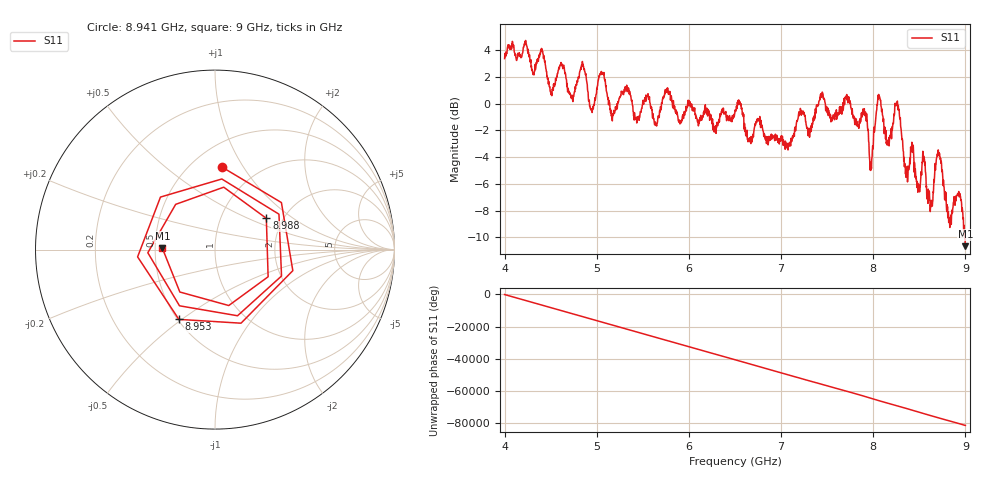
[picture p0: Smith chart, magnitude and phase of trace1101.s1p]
! Created with skrf 1.8.0 (http://scikit-rf.org).
# Hz S RI R 50.0
!freq ReS11 ImS11
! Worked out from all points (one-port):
!   1601 points, 4 GHz to 9 GHz, reference 50 ohm
!   lowest |S11| = -10.7 dB at 9 GHz (marker M1), VSWR 1.83, Z = 27.3 + j0.449 ohm
!   |S11| at or under -10 dB: 8.994986 GHz to end of sweep
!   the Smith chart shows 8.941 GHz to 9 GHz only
!   S11 on the Smith chart (normalised r, x): 8.941 GHz: 0.70, +0.81; 8.953 GHz: 0.51, -0.49; 8.988 GHz: 1.64, +0.65; 9 GHz: 0.55, +0.01
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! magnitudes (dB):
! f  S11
! 4 GHz  3.4
! 4.406 GHz  4.1
! 4.509 GHz  0.8
! 4.625 GHz  2.8
! 4.728 GHz  0.5
! 4.856 GHz  2.8
! 4.947 GHz  -0.4
! 5.053 GHz  2.2
! 5.169 GHz  -1.3
! 5.25 GHz  0.5
! 5.875 GHz  -0.8
! 6.5 GHz  -0.6
! 7.125 GHz  -2.4
! 7.75 GHz  0.0
! 7.909 GHz  -0.8
! 7.975 GHz  -4.5
! 8.056 GHz  0.3
! 8.159 GHz  -3.0
! 8.259 GHz  0.1
! 8.375 GHz  -5.4
! 8.547 GHz  -3.9
! 8.625 GHz  -7.7
! 8.712 GHz  -3.7
! 8.822 GHz  -8.5
! 8.941 GHz  -6.7
! 8.953 GHz  -7.2
! 8.988 GHz  -9.5
! 9 GHz  -10.7
